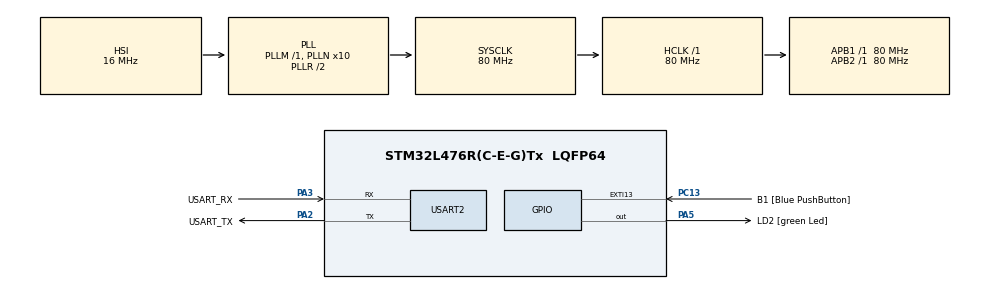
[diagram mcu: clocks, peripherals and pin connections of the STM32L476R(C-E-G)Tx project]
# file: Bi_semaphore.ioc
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FREERTOS.BinarySemaphores01=bin_sem,Dynamic,NULL,Available
FREERTOS.Tasks01=HighTask,32,128,StartHighTask,Default,NULL,Dynamic,NULL,NULL;MediumTask,24,128,StartMediumTask,Default,NULL,Dynamic,NULL,NULL;LowTask,16,128,StartLowTask,Default,NULL,Dynamic,NULL,NULL
FREERTOS.configUSE_NEWLIB_REENTRANT=1
Mcu.Family=STM32L4
Mcu.Name=STM32L476R(C-E-G)Tx
Mcu.Package=LQFP64
NVIC.PriorityGroup=NVIC_PRIORITYGROUP_4
NVIC.TIM1_UP_TIM16_IRQn=true\:15\:0\:false\:false\:true\:false\:false\:true\:true
NVIC.TimeBase=TIM1_UP_TIM16_IRQn
NVIC.TimeBaseIP=TIM1
PA13\ (JTMS-SWDIO).GPIO_Label=TMS
PA13\ (JTMS-SWDIO).Mode=Serial_Wire
PA13\ (JTMS-SWDIO).Signal=SYS_JTMS-SWDIO
PA14\ (JTCK-SWCLK).GPIO_Label=TCK
PA14\ (JTCK-SWCLK).Mode=Serial_Wire
PA14\ (JTCK-SWCLK).Signal=SYS_JTCK-SWCLK
PA2.GPIO_Label=USART_TX
PA2.GPIO_Mode=GPIO_MODE_AF_PP
PA2.GPIO_PuPd=GPIO_NOPULL
PA2.GPIO_Speed=GPIO_SPEED_FREQ_VERY_HIGH
PA2.Mode=Asynchronous
PA2.Signal=USART2_TX
PA3.GPIO_Label=USART_RX
PA3.GPIO_Mode=GPIO_MODE_AF_PP
PA3.GPIO_PuPd=GPIO_NOPULL
PA3.GPIO_Speed=GPIO_SPEED_FREQ_VERY_HIGH
PA3.Mode=Asynchronous
PA3.Signal=USART2_RX
PA5.GPIO_Label=LD2 [green Led]
PA5.GPIO_ModeDefaultOutputPP=GPIO_MODE_OUTPUT_PP
PA5.GPIO_PuPd=GPIO_NOPULL
PA5.GPIO_Speed=GPIO_SPEED_FREQ_LOW
PA5.Signal=GPIO_Output
PB3\ (JTDO-TRACESWO).GPIO_Label=SWO
PB3\ (JTDO-TRACESWO).Signal=SYS_JTDO-SWO
PC13.GPIO_Label=B1 [Blue PushButton]
PC13.GPIO_ModeDefaultEXTI=GPIO_MODE_IT_FALLING
PC13.GPIO_PuPd=GPIO_NOPULL
PC13.Signal=GPXTI13
PC14-OSC32_IN\ (PC14).Mode=LSE-External-Oscillator
PC14-OSC32_IN\ (PC14).Signal=RCC_OSC32_IN
PC15-OSC32_OUT\ (PC15).Mode=LSE-External-Oscillator
PC15-OSC32_OUT\ (PC15).Signal=RCC_OSC32_OUT
PH0-OSC_IN\ (PH0).Signal=RCC_OSC_IN
PH1-OSC_OUT\ (PH1).Signal=RCC_OSC_OUT
ProjectManager.HeapSize=0x200
ProjectManager.StackSize=0x400
ProjectManager.TargetToolchain=STM32CubeIDE
RCC.ADCFreq_Value=64000000
RCC.AHBFreq_Value=80000000
RCC.APB1Freq_Value=80000000
RCC.APB1TimFreq_Value=80000000
RCC.APB2Freq_Value=80000000
RCC.APB2TimFreq_Value=80000000
RCC.CortexFreq_Value=80000000
RCC.HCLKFreq_Value=80000000
RCC.HSE_VALUE=8000000
RCC.HSI_VALUE=16000000
RCC.MSI_VALUE=4000000
RCC.PLLN=10
RCC.PLLSourceVirtual=RCC_PLLSOURCE_HSI
RCC.PREFETCH_ENABLE=1
RCC.SYSCLKFreq_VALUE=80000000
RCC.SYSCLKSource=RCC_SYSCLKSOURCE_PLLCLK
RCC.USBFreq_Value=64000000
RCC.VCOOutputFreq_Value=160000000
USART2.VirtualMode-Asynchronous=VM_ASYNC
VP_FREERTOS_VS_CMSIS_V2.Mode=CMSIS_V2
VP_SYS_VS_tim1.Mode=TIM1
board=NUCLEO-L476RG

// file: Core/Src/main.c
/* USER CODE BEGIN Header */
/**
 ******************************************************************************
 * @file           : main.c
 * @brief          : Main program body
 ******************************************************************************
 * @attention
 *
 * Copyright (c) 2025 STMicroelectronics.
 * All rights reserved.
 *
 * This software is licensed under terms that can be found in the LICENSE file
 * in the root directory of this software component.
 * If no LICENSE file comes with this software, it is provided AS-IS.
 *
 ******************************************************************************
 */
/* USER CODE END Header */
#include "main.h"
#include "cmsis_os.h"

/* USER CODE BEGIN Includes */
#include "stdio.h"
/* USER CODE END Includes */

UART_HandleTypeDef huart2;

/* Definitions for HighTask */
osThreadId_t HighTaskHandle;
const osThreadAttr_t HighTask_attributes = {
		.name = "HighTask",
		.stack_size = 128 * 4,
		.priority = (osPriority_t) osPriorityAboveNormal,
};
/* Definitions for MediumTask */
osThreadId_t MediumTaskHandle;
const osThreadAttr_t MediumTask_attributes = {
		.name = "MediumTask",
		.stack_size = 128 * 4,
		.priority = (osPriority_t) osPriorityNormal,
};
/* Definitions for LowTask */
osThreadId_t LowTaskHandle;
const osThreadAttr_t LowTask_attributes = {
		.name = "LowTask",
		.stack_size = 128 * 4,
		.priority = (osPriority_t) osPriorityBelowNormal,
};
/* Definitions for bin_sem */
osSemaphoreId_t bin_semHandle;
const osSemaphoreAttr_t bin_sem_attributes = {
		.name = "bin_sem"
};
/* USER CODE BEGIN PV */
int _write(int file, char *ptr, int len)
{
	int i=0;
	for (i=0; i<len; i++)
		ITM_SendChar(*ptr++);
	return len;
}
/* USER CODE END PV */

void SystemClock_Config(void);
static void MX_GPIO_Init(void);
static void MX_USART2_UART_Init(void);
void StartHighTask(void *argument);
void StartMediumTask(void *argument);
void StartLowTask(void *argument);

int main(void)
{

	/* MCU Configuration--------------------------------------------------------*/

	/* Reset of all peripherals, Initializes the Flash interface and the Systick. */
	HAL_Init();

	/* Configure the system clock */
	SystemClock_Config();

	/* Initialize all configured peripherals */
	MX_GPIO_Init();
	MX_USART2_UART_Init();

	/* Init scheduler */
	osKernelInitialize();

	/* Create the semaphores(s) */
	/* creation of bin_sem */
	bin_semHandle = osSemaphoreNew(1, 1, &bin_sem_attributes);

	/* Create the thread(s) */
	/* creation of HighTask */
	HighTaskHandle = osThreadNew(StartHighTask, NULL, &HighTask_attributes);

	/* creation of MediumTask */
	MediumTaskHandle = osThreadNew(StartMediumTask, NULL, &MediumTask_attributes);

	/* creation of LowTask */
	LowTaskHandle = osThreadNew(StartLowTask, NULL, &LowTask_attributes);

	/* Start scheduler */
	osKernelStart();

	/* We should never get here as control is now taken by the scheduler */

	/* Infinite loop */
	while (1)
	{

	}
}

void SystemClock_Config(void)
{
	RCC_OscInitTypeDef RCC_OscInitStruct = {0};
	RCC_ClkInitTypeDef RCC_ClkInitStruct = {0};

	/** Configure the main internal regulator output voltage
	 */
	if (HAL_PWREx_ControlVoltageScaling(PWR_REGULATOR_VOLTAGE_SCALE1) != HAL_OK)
	{
		Error_Handler();
	}

	/** Initializes the RCC Oscillators according to the specified parameters
	 * in the RCC_OscInitTypeDef structure.
	 */
	RCC_OscInitStruct.OscillatorType = RCC_OSCILLATORTYPE_HSI;
	RCC_OscInitStruct.HSIState = RCC_HSI_ON;
	RCC_OscInitStruct.HSICalibrationValue = RCC_HSICALIBRATION_DEFAULT;
	RCC_OscInitStruct.PLL.PLLState = RCC_PLL_ON;
	RCC_OscInitStruct.PLL.PLLSource = RCC_PLLSOURCE_HSI;
	RCC_OscInitStruct.PLL.PLLM = 1;
	RCC_OscInitStruct.PLL.PLLN = 10;
	RCC_OscInitStruct.PLL.PLLP = RCC_PLLP_DIV7;
	RCC_OscInitStruct.PLL.PLLQ = RCC_PLLQ_DIV2;
	RCC_OscInitStruct.PLL.PLLR = RCC_PLLR_DIV2;
	if (HAL_RCC_OscConfig(&RCC_OscInitStruct) != HAL_OK)
	{
		Error_Handler();
	}

	/** Initializes the CPU, AHB and APB buses clocks
	 */
	RCC_ClkInitStruct.ClockType = RCC_CLOCKTYPE_HCLK|RCC_CLOCKTYPE_SYSCLK
			|RCC_CLOCKTYPE_PCLK1|RCC_CLOCKTYPE_PCLK2;
	RCC_ClkInitStruct.SYSCLKSource = RCC_SYSCLKSOURCE_PLLCLK;
	RCC_ClkInitStruct.AHBCLKDivider = RCC_SYSCLK_DIV1;
	RCC_ClkInitStruct.APB1CLKDivider = RCC_HCLK_DIV1;
	RCC_ClkInitStruct.APB2CLKDivider = RCC_HCLK_DIV1;

	if (HAL_RCC_ClockConfig(&RCC_ClkInitStruct, FLASH_LATENCY_4) != HAL_OK)
	{
		Error_Handler();
	}
}

static void MX_USART2_UART_Init(void)
{

	huart2.Instance = USART2;
	huart2.Init.BaudRate = 115200;
	huart2.Init.WordLength = UART_WORDLENGTH_8B;
	huart2.Init.StopBits = UART_STOPBITS_1;
	huart2.Init.Parity = UART_PARITY_NONE;
	huart2.Init.Mode = UART_MODE_TX_RX;
	huart2.Init.HwFlowCtl = UART_HWCONTROL_NONE;
	huart2.Init.OverSampling = UART_OVERSAMPLING_16;
	huart2.Init.OneBitSampling = UART_ONE_BIT_SAMPLE_DISABLE;
	huart2.AdvancedInit.AdvFeatureInit = UART_ADVFEATURE_NO_INIT;
	if (HAL_UART_Init(&huart2) != HAL_OK)
	{
		Error_Handler();
	}

}

static void MX_GPIO_Init(void)
{
	GPIO_InitTypeDef GPIO_InitStruct = {0};

	/* GPIO Ports Clock Enable */
	__HAL_RCC_GPIOC_CLK_ENABLE();
	__HAL_RCC_GPIOH_CLK_ENABLE();
	__HAL_RCC_GPIOA_CLK_ENABLE();
	__HAL_RCC_GPIOB_CLK_ENABLE();

	/*Configure GPIO pin Output Level */
	HAL_GPIO_WritePin(LD2_GPIO_Port, LD2_Pin, GPIO_PIN_RESET);

	/*Configure GPIO pin : B1_Pin */
	GPIO_InitStruct.Pin = B1_Pin;
	GPIO_InitStruct.Mode = GPIO_MODE_IT_FALLING;
	GPIO_InitStruct.Pull = GPIO_NOPULL;
	HAL_GPIO_Init(B1_GPIO_Port, &GPIO_InitStruct);

	/*Configure GPIO pin : LD2_Pin */
	GPIO_InitStruct.Pin = LD2_Pin;
	GPIO_InitStruct.Mode = GPIO_MODE_OUTPUT_PP;
	GPIO_InitStruct.Pull = GPIO_NOPULL;
	GPIO_InitStruct.Speed = GPIO_SPEED_FREQ_LOW;
	HAL_GPIO_Init(LD2_GPIO_Port, &GPIO_InitStruct);

}

void StartHighTask(void *argument)
{
	/* USER CODE BEGIN 5 */
	/* Infinite loop */
	for(;;)
	{
		printf("Enter high task and acquire semaphore\n");
		osSemaphoreAcquire(bin_semHandle, osWaitForever);

		printf("Leaving high task and release semaphore\n");
		//osSemaphoreRelease(bin_semHandle);
		osDelay(500);
	}
	/* USER CODE END 5 */
}

void StartMediumTask(void *argument)
{
	/* USER CODE BEGIN StartMediumTask */
	/* Infinite loop */
	for(;;)
	{
		printf("Enter medium task\n");
		printf("Leaving medium task\n");
		osDelay(500);
	}
	/* USER CODE END StartMediumTask */
}

void StartLowTask(void *argument)
{
	/* USER CODE BEGIN StartLowTask */
	/* Infinite loop */
	for(;;)
	{
		printf("Enter low task\n");
		printf("Leaving low task\n");
		osDelay(500);
	}
	/* USER CODE END StartLowTask */
}

void HAL_TIM_PeriodElapsedCallback(TIM_HandleTypeDef *htim)
{
	if (htim->Instance == TIM1)
	{
		HAL_IncTick();
	}
}

void Error_Handler(void)
{
	__disable_irq();
	while (1)
	{
	}
}
